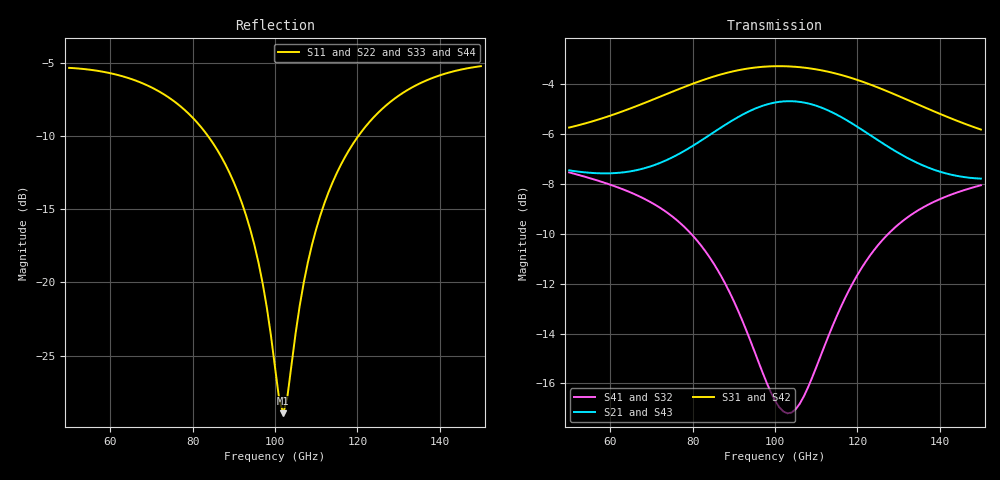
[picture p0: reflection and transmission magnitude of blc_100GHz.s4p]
#  GHZ S DB R 50
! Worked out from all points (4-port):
!   101 points, 50 GHz to 150 GHz, reference 50 ohm
!   strongest paths, dB at 50 GHz, 75 GHz, 100 GHz, 125 GHz, 150 GHz:
!     S31: -5.8, -4.3, -3.3, -4.1, -5.8
!     S42: -5.8, -4.3, -3.3, -4.1, -5.8
!     S21: -7.5, -7.0, -4.8, -6.3, -7.8
!     S43: -7.5, -7.0, -4.8, -6.3, -7.8
!     S41: -7.5, -9.3, -16.7, -10.5, -8.1
!     S32: -7.5, -9.3, -16.7, -10.5, -8.1
!   lowest |S11| = -29.0 dB at 102 GHz (marker M1), VSWR 1.07, Z = 53.7 - j0.299 ohm
!   |S11| at or under -10 dB: 83.72 GHz to 120.2 GHz (36.51 GHz wide, 35.8 % of centre)
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50  -5.34 158.2  -7.47 -47.5  -5.75 -80.3  -7.55 -62.7
    -7.47 -47.5  -5.34 158.2  -7.55 -62.7  -5.75 -80.3
    -5.75 -80.3  -7.55 -62.7  -5.34 158.2  -7.47 -47.5
    -7.55 -62.7  -5.75 -80.3  -7.47 -47.5  -5.34 158.2
86  -10.96 107.4  -5.85 -70.1  -3.67 -146.6  -11.44 -110.3
    -5.85 -70.1  -10.95 107.2  -11.45 -110.4  -3.67 -146.6
    -3.67 -146.6  -11.45 -110.4  -10.95 107.1  -5.85 -70.0
    -11.44 -110.3  -3.67 -146.6  -5.85 -70.0  -10.95 107.4
95  -17.45 83.4  -5.01 -82.4  -3.35 -166.9  -14.71 -114.2
    -5.01 -82.4  -17.41 82.9  -14.74 -114.3  -3.35 -166.9
    -3.35 -166.9  -14.74 -114.3  -17.41 82.8  -5.01 -82.4
    -14.71 -114.2  -3.35 -166.9  -5.01 -82.4  -17.44 83.3
102  -28.95 -4.5  -4.71 -94.2  -3.30 177.0  -17.12 -98.5
     -4.71 -94.2  -28.60 -3.8  -17.18 -98.5  -3.30 177.0
     -3.30 177.0  -17.18 -98.5  -28.53 -4.2  -4.71 -94.1
     -17.12 -98.5  -3.30 177.0  -4.71 -94.1  -28.88 -4.1
109  -17.41 -90.3  -4.83 -106.3  -3.40 160.9  -15.77 -77.0
     -4.83 -106.3  -17.41 -89.6  -15.81 -76.8  -3.40 160.9
     -3.40 160.9  -15.81 -76.8  -17.39 -89.6  -4.83 -106.2
     -15.77 -77.0  -3.40 160.9  -4.83 -106.2  -17.42 -90.2
117  -11.44 -111.6  -5.42 -118.6  -3.69 143.0  -12.59 -74.6
     -5.42 -118.6  -11.44 -111.3  -12.60 -74.4  -3.69 143.0
     -3.69 143.0  -12.60 -74.4  -11.43 -111.3  -5.42 -118.6
     -12.59 -74.6  -3.69 143.0  -5.42 -118.6  -11.44 -111.6
150  -5.22 -160.6  -7.80 -143.5  -5.83 80.1  -8.06 -117.7
     -7.80 -143.5  -5.23 -160.4  -8.06 -117.5  -5.83 80.1
     -5.83 80.1  -8.06 -117.5  -5.23 -160.4  -7.80 -143.4
     -8.06 -117.7  -5.83 80.1  -7.80 -143.4  -5.23 -160.6
